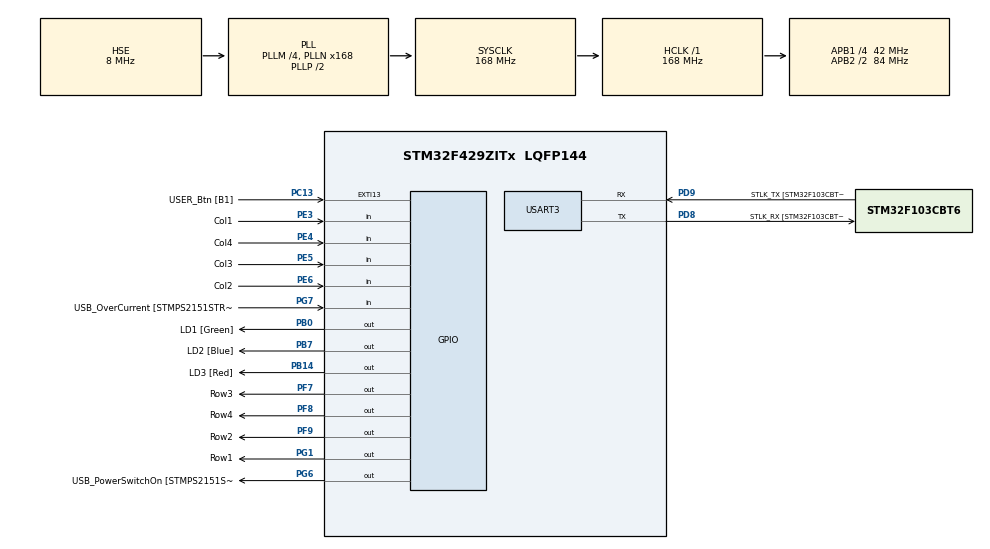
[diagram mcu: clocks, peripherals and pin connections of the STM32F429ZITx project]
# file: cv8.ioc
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Mcu.Family=STM32F4
Mcu.Name=STM32F429ZITx
Mcu.Package=LQFP144
NVIC.PriorityGroup=NVIC_PRIORITYGROUP_4
NVIC.TIM3_IRQn=true\:0\:0\:false\:false\:true\:true\:true\:true
PA1.GPIO_Label=RMII_REF_CLK [LAN8742A-CZ-TR_REFCLK0]
PA1.Signal=ETH_REF_CLK
PA10.GPIO_Label=USB_ID
PA10.Signal=USB_OTG_FS_ID
PA11.GPIO_Label=USB_DM
PA11.Signal=USB_OTG_FS_DM
PA12.GPIO_Label=USB_DP
PA12.Signal=USB_OTG_FS_DP
PA13.GPIO_Label=TMS
PA13.Mode=Serial_Wire
PA13.Signal=SYS_JTMS-SWDIO
PA14.GPIO_Label=TCK
PA14.Mode=Serial_Wire
PA14.Signal=SYS_JTCK-SWCLK
PA2.GPIO_Label=RMII_MDIO [LAN8742A-CZ-TR_MDIO]
PA2.Signal=ETH_MDIO
PA7.GPIO_Label=RMII_CRS_DV [LAN8742A-CZ-TR_CRS_DV]
PA7.Signal=ETH_CRS_DV
PA8.GPIO_Label=USB_SOF [TP1]
PA8.Signal=USB_OTG_FS_SOF
PA9.GPIO_Label=USB_VBUS
PA9.Signal=USB_OTG_FS_VBUS
PB0.GPIO_Label=LD1 [Green]
PB0.Signal=GPIO_Output
PB13.GPIO_Label=RMII_TXD1 [LAN8742A-CZ-TR_TXD1]
PB13.Signal=ETH_TXD1
PB14.GPIO_Label=LD3 [Red]
PB14.Signal=GPIO_Output
PB7.GPIO_Label=LD2 [Blue]
PB7.Signal=GPIO_Output
PC1.GPIO_Label=RMII_MDC [LAN8742A-CZ-TR_MDC]
PC1.Signal=ETH_MDC
PC13.GPIO_Label=USER_Btn [B1]
PC13.Signal=GPXTI13
PC14/OSC32_IN.Mode=LSE-External-Oscillator
PC14/OSC32_IN.Signal=RCC_OSC32_IN
PC15/OSC32_OUT.Mode=LSE-External-Oscillator
PC15/OSC32_OUT.Signal=RCC_OSC32_OUT
PC4.GPIO_Label=RMII_RXD0 [LAN8742A-CZ-TR_RXD0]
PC4.Signal=ETH_RXD0
PC5.GPIO_Label=RMII_RXD1 [LAN8742A-CZ-TR_RXD1]
PC5.Signal=ETH_RXD1
PD8.GPIO_Label=STLK_RX [STM32F103CBT6_PA3]
PD8.Mode=Asynchronous
PD8.Signal=USART3_TX
PD9.GPIO_Label=STLK_TX [STM32F103CBT6_PA2]
PD9.Mode=Asynchronous
PD9.Signal=USART3_RX
PE3.GPIO_Label=Col1
PE3.GPIO_PuPd=GPIO_PULLUP
PE3.Signal=GPIO_Input
PE4.GPIO_Label=Col4
PE4.GPIO_PuPd=GPIO_PULLUP
PE4.Signal=GPIO_Input
PE5.GPIO_Label=Col3
PE5.GPIO_PuPd=GPIO_PULLUP
PE5.Signal=GPIO_Input
PE6.GPIO_Label=Col2
PE6.GPIO_PuPd=GPIO_PULLUP
PE6.Signal=GPIO_Input
PF7.GPIO_Label=Row3
PF7.GPIO_ModeDefaultOutputPP=GPIO_MODE_OUTPUT_OD
PF7.GPIO_PuPd=GPIO_NOPULL
PF7.Signal=GPIO_Output
PF8.GPIO_Label=Row4
PF8.GPIO_ModeDefaultOutputPP=GPIO_MODE_OUTPUT_OD
PF8.GPIO_PuPd=GPIO_NOPULL
PF8.Signal=GPIO_Output
PF9.GPIO_Label=Row2
PF9.GPIO_ModeDefaultOutputPP=GPIO_MODE_OUTPUT_OD
PF9.GPIO_PuPd=GPIO_NOPULL
PF9.Signal=GPIO_Output
PG1.GPIO_Label=Row1
PG1.GPIO_ModeDefaultOutputPP=GPIO_MODE_OUTPUT_OD
PG1.GPIO_PuPd=GPIO_NOPULL
PG1.Signal=GPIO_Output
PG11.GPIO_Label=RMII_TX_EN [LAN8742A-CZ-TR_TXEN]
PG11.Signal=ETH_TX_EN
PG13.GPIO_Label=RMII_TXD0 [LAN8742A-CZ-TR_TXD0]
PG13.Signal=ETH_TXD0
PG6.GPIO_Label=USB_PowerSwitchOn [STMPS2151STR_EN]
PG6.Signal=GPIO_Output
PG7.GPIO_Label=USB_OverCurrent [STMPS2151STR_FAULT]
PG7.Signal=GPIO_Input
PH0/OSC_IN.GPIO_Label=MCO [STM32F103CBT6_PA8]
PH0/OSC_IN.Mode=HSE-External-Clock-Source
PH0/OSC_IN.Signal=RCC_OSC_IN
PH1/OSC_OUT.Mode=HSE-External-Clock-Source
PH1/OSC_OUT.Signal=RCC_OSC_OUT
ProjectManager.HeapSize=0x200
ProjectManager.StackSize=0x400
ProjectManager.TargetToolchain=STM32CubeIDE
RCC.48MHZClocksFreq_Value=48000000
RCC.AHBFreq_Value=168000000
RCC.APB1CLKDivider=RCC_HCLK_DIV4
RCC.APB1Freq_Value=42000000
RCC.APB1TimFreq_Value=84000000
RCC.APB2CLKDivider=RCC_HCLK_DIV2
RCC.APB2Freq_Value=84000000
RCC.APB2TimCLKDivider=2
RCC.APB2TimFreq_Value=168000000
RCC.CortexFreq_Value=168000000
RCC.HCLKFreq_Value=168000000
RCC.HSE_VALUE=8000000
RCC.HSI_VALUE=16000000
RCC.PLLM=4
RCC.PLLMUL=RCC_PLL_MUL9
RCC.PLLN=168
RCC.PLLQ=7
RCC.PLLSourceVirtual=RCC_PLLSOURCE_HSE
RCC.PRESCALERUSB=RCC_USBCLKSOURCE_PLL_DIV1_5
RCC.SYSCLKFreq_VALUE=168000000
RCC.SYSCLKSource=RCC_SYSCLKSOURCE_PLLCLK
RCC.SYSCLKSourceVirtual=RCC_SYSCLKSOURCE_PLLCLK
RCC.USBFreq_Value=48000000
RCC.VCOOutputFreq_Value=336000000
TIM3.AutoReloadPreload=TIM_AUTORELOAD_PRELOAD_ENABLE
TIM3.Period=99
TIM3.Prescaler=8399
USART3.VirtualMode=VM_ASYNC
VP_TIM3_VS_ClockSourceINT.Mode=Internal
board=NUCLEO-F429ZI

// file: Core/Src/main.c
/* USER CODE BEGIN Header */
/**
  ******************************************************************************
  * @file           : main.c
  * @brief          : Main program body
  ******************************************************************************
  * @attention
  *
  * Copyright (c) 2025 STMicroelectronics.
  * All rights reserved.
  *
  * This software is licensed under terms that can be found in the LICENSE file
  * in the root directory of this software component.
  * If no LICENSE file comes with this software, it is provided AS-IS.
  *
  ******************************************************************************
  */
/* USER CODE END Header */
#include "main.h"

/* USER CODE BEGIN Includes */
#include <stdio.h>
/* USER CODE END Includes */

TIM_HandleTypeDef htim3;

UART_HandleTypeDef huart3;

/* USER CODE BEGIN PV */
static char password[] = {'7', '9', '3', '2', '#' };
static volatile int position = 0;
static volatile char key;
/* USER CODE END PV */

void SystemClock_Config(void);
static void MX_GPIO_Init(void);
static void MX_USART3_UART_Init(void);
static void MX_TIM3_Init(void);

/* USER CODE BEGIN 0 */
int __io_putchar(int ch)
{
	ITM_SendChar(ch);
	return 0;
}
/* USER CODE END 0 */

int main(void)
{

  /* USER CODE BEGIN 1 */
  static int time = 0;
  /* USER CODE END 1 */

  /* MCU Configuration--------------------------------------------------------*/

  /* Reset of all peripherals, Initializes the Flash interface and the Systick. */
  HAL_Init();

  /* Configure the system clock */
  SystemClock_Config();

  /* Initialize all configured peripherals */
  MX_GPIO_Init();
  MX_USART3_UART_Init();
  MX_TIM3_Init();
  /* USER CODE BEGIN 2 */
  HAL_TIM_Base_Start_IT(&htim3);
  /* USER CODE END 2 */

  /* Infinite loop */
  /* USER CODE BEGIN WHILE */
  while (1)
  {
	  if (key != 0) {
		  printf("pressed '%c'\n", key);

		  if (password[position] == key)
		  {
			  if (position == 4)
			  {
				  time = HAL_GetTick();
				  position = 0;
				  HAL_GPIO_WritePin(LD1_GPIO_Port, LD1_Pin, GPIO_PIN_SET);
				  printf("CORRECT! \n");
			  }
			  else
			  {
				  position++;
			  }
		  }
		  else
		  {
			  position = 0;
			  printf("WRONG \n");
		  }
		  HAL_Delay(500);
		  key = 0;
	  }

	  if (HAL_GetTick() - time >= 3000 )
	  {
		  HAL_GPIO_WritePin(LD1_GPIO_Port, LD1_Pin, GPIO_PIN_RESET);
	  }

//	  if (HAL_GetTick() - time < 3000 )
//	  {
//		  HAL_GPIO_WritePin(LD1_GPIO_Port, LD1_Pin, GPIO_PIN_RESET);
//	  }
    /* USER CODE END WHILE */

  }
}

void SystemClock_Config(void)
{
  RCC_OscInitTypeDef RCC_OscInitStruct = {0};
  RCC_ClkInitTypeDef RCC_ClkInitStruct = {0};

  /** Configure the main internal regulator output voltage
  */
  __HAL_RCC_PWR_CLK_ENABLE();
  __HAL_PWR_VOLTAGESCALING_CONFIG(PWR_REGULATOR_VOLTAGE_SCALE1);

  /** Initializes the RCC Oscillators according to the specified parameters
  * in the RCC_OscInitTypeDef structure.
  */
  RCC_OscInitStruct.OscillatorType = RCC_OSCILLATORTYPE_HSE;
  RCC_OscInitStruct.HSEState = RCC_HSE_BYPASS;
  RCC_OscInitStruct.PLL.PLLState = RCC_PLL_ON;
  RCC_OscInitStruct.PLL.PLLSource = RCC_PLLSOURCE_HSE;
  RCC_OscInitStruct.PLL.PLLM = 4;
  RCC_OscInitStruct.PLL.PLLN = 168;
  RCC_OscInitStruct.PLL.PLLP = RCC_PLLP_DIV2;
  RCC_OscInitStruct.PLL.PLLQ = 7;
  if (HAL_RCC_OscConfig(&RCC_OscInitStruct) != HAL_OK)
  {
    Error_Handler();
  }

  /** Initializes the CPU, AHB and APB buses clocks
  */
  RCC_ClkInitStruct.ClockType = RCC_CLOCKTYPE_HCLK|RCC_CLOCKTYPE_SYSCLK
                              |RCC_CLOCKTYPE_PCLK1|RCC_CLOCKTYPE_PCLK2;
  RCC_ClkInitStruct.SYSCLKSource = RCC_SYSCLKSOURCE_PLLCLK;
  RCC_ClkInitStruct.AHBCLKDivider = RCC_SYSCLK_DIV1;
  RCC_ClkInitStruct.APB1CLKDivider = RCC_HCLK_DIV4;
  RCC_ClkInitStruct.APB2CLKDivider = RCC_HCLK_DIV2;

  if (HAL_RCC_ClockConfig(&RCC_ClkInitStruct, FLASH_LATENCY_5) != HAL_OK)
  {
    Error_Handler();
  }
}

static void MX_TIM3_Init(void)
{

  TIM_ClockConfigTypeDef sClockSourceConfig = {0};
  TIM_MasterConfigTypeDef sMasterConfig = {0};

  htim3.Instance = TIM3;
  htim3.Init.Prescaler = 8399;
  htim3.Init.CounterMode = TIM_COUNTERMODE_UP;
  htim3.Init.Period = 99;
  htim3.Init.ClockDivision = TIM_CLOCKDIVISION_DIV1;
  htim3.Init.AutoReloadPreload = TIM_AUTORELOAD_PRELOAD_ENABLE;
  if (HAL_TIM_Base_Init(&htim3) != HAL_OK)
  {
    Error_Handler();
  }
  sClockSourceConfig.ClockSource = TIM_CLOCKSOURCE_INTERNAL;
  if (HAL_TIM_ConfigClockSource(&htim3, &sClockSourceConfig) != HAL_OK)
  {
    Error_Handler();
  }
  sMasterConfig.MasterOutputTrigger = TIM_TRGO_RESET;
  sMasterConfig.MasterSlaveMode = TIM_MASTERSLAVEMODE_DISABLE;
  if (HAL_TIMEx_MasterConfigSynchronization(&htim3, &sMasterConfig) != HAL_OK)
  {
    Error_Handler();
  }

}

static void MX_USART3_UART_Init(void)
{

  huart3.Instance = USART3;
  huart3.Init.BaudRate = 115200;
  huart3.Init.WordLength = UART_WORDLENGTH_8B;
  huart3.Init.StopBits = UART_STOPBITS_1;
  huart3.Init.Parity = UART_PARITY_NONE;
  huart3.Init.Mode = UART_MODE_TX_RX;
  huart3.Init.HwFlowCtl = UART_HWCONTROL_NONE;
  huart3.Init.OverSampling = UART_OVERSAMPLING_16;
  if (HAL_UART_Init(&huart3) != HAL_OK)
  {
    Error_Handler();
  }

}

static void MX_GPIO_Init(void)
{
  GPIO_InitTypeDef GPIO_InitStruct = {0};

  /* GPIO Ports Clock Enable */
  __HAL_RCC_GPIOE_CLK_ENABLE();
  __HAL_RCC_GPIOC_CLK_ENABLE();
  __HAL_RCC_GPIOF_CLK_ENABLE();
  __HAL_RCC_GPIOH_CLK_ENABLE();
  __HAL_RCC_GPIOA_CLK_ENABLE();
  __HAL_RCC_GPIOB_CLK_ENABLE();
  __HAL_RCC_GPIOG_CLK_ENABLE();
  __HAL_RCC_GPIOD_CLK_ENABLE();

  /*Configure GPIO pin Output Level */
  HAL_GPIO_WritePin(GPIOF, Row3_Pin|Row4_Pin|Row2_Pin, GPIO_PIN_RESET);

  /*Configure GPIO pin Output Level */
  HAL_GPIO_WritePin(GPIOB, LD1_Pin|LD3_Pin|LD2_Pin, GPIO_PIN_RESET);

  /*Configure GPIO pin Output Level */
  HAL_GPIO_WritePin(GPIOG, Row1_Pin|USB_PowerSwitchOn_Pin, GPIO_PIN_RESET);

  /*Configure GPIO pins : Col1_Pin Col4_Pin Col3_Pin Col2_Pin */
  GPIO_InitStruct.Pin = Col1_Pin|Col4_Pin|Col3_Pin|Col2_Pin;
  GPIO_InitStruct.Mode = GPIO_MODE_INPUT;
  GPIO_InitStruct.Pull = GPIO_PULLUP;
  HAL_GPIO_Init(GPIOE, &GPIO_InitStruct);

  /*Configure GPIO pin : USER_Btn_Pin */
  GPIO_InitStruct.Pin = USER_Btn_Pin;
  GPIO_InitStruct.Mode = GPIO_MODE_IT_RISING;
  GPIO_InitStruct.Pull = GPIO_NOPULL;
  HAL_GPIO_Init(USER_Btn_GPIO_Port, &GPIO_InitStruct);

  /*Configure GPIO pins : Row3_Pin Row4_Pin Row2_Pin */
  GPIO_InitStruct.Pin = Row3_Pin|Row4_Pin|Row2_Pin;
  GPIO_InitStruct.Mode = GPIO_MODE_OUTPUT_OD;
  GPIO_InitStruct.Pull = GPIO_NOPULL;
  GPIO_InitStruct.Speed = GPIO_SPEED_FREQ_LOW;
  HAL_GPIO_Init(GPIOF, &GPIO_InitStruct);

  /*Configure GPIO pins : RMII_MDC_Pin RMII_RXD0_Pin RMII_RXD1_Pin */
  GPIO_InitStruct.Pin = RMII_MDC_Pin|RMII_RXD0_Pin|RMII_RXD1_Pin;
  GPIO_InitStruct.Mode = GPIO_MODE_AF_PP;
  GPIO_InitStruct.Pull = GPIO_NOPULL;
  GPIO_InitStruct.Speed = GPIO_SPEED_FREQ_VERY_HIGH;
  GPIO_InitStruct.Alternate = GPIO_AF11_ETH;
  HAL_GPIO_Init(GPIOC, &GPIO_InitStruct);

  /*Configure GPIO pins : RMII_REF_CLK_Pin RMII_MDIO_Pin RMII_CRS_DV_Pin */
  GPIO_InitStruct.Pin = RMII_REF_CLK_Pin|RMII_MDIO_Pin|RMII_CRS_DV_Pin;
  GPIO_InitStruct.Mode = GPIO_MODE_AF_PP;
  GPIO_InitStruct.Pull = GPIO_NOPULL;
  GPIO_InitStruct.Speed = GPIO_SPEED_FREQ_VERY_HIGH;
  GPIO_InitStruct.Alternate = GPIO_AF11_ETH;
  HAL_GPIO_Init(GPIOA, &GPIO_InitStruct);

  /*Configure GPIO pins : LD1_Pin LD3_Pin LD2_Pin */
  GPIO_InitStruct.Pin = LD1_Pin|LD3_Pin|LD2_Pin;
  GPIO_InitStruct.Mode = GPIO_MODE_OUTPUT_PP;
  GPIO_InitStruct.Pull = GPIO_NOPULL;
  GPIO_InitStruct.Speed = GPIO_SPEED_FREQ_LOW;
  HAL_GPIO_Init(GPIOB, &GPIO_InitStruct);

  /*Configure GPIO pin : Row1_Pin */
  GPIO_InitStruct.Pin = Row1_Pin;
  GPIO_InitStruct.Mode = GPIO_MODE_OUTPUT_OD;
  GPIO_InitStruct.Pull = GPIO_NOPULL;
  GPIO_InitStruct.Speed = GPIO_SPEED_FREQ_LOW;
  HAL_GPIO_Init(Row1_GPIO_Port, &GPIO_InitStruct);

  /*Configure GPIO pin : RMII_TXD1_Pin */
  GPIO_InitStruct.Pin = RMII_TXD1_Pin;
  GPIO_InitStruct.Mode = GPIO_MODE_AF_PP;
  GPIO_InitStruct.Pull = GPIO_NOPULL;
  GPIO_InitStruct.Speed = GPIO_SPEED_FREQ_VERY_HIGH;
  GPIO_InitStruct.Alternate = GPIO_AF11_ETH;
  HAL_GPIO_Init(RMII_TXD1_GPIO_Port, &GPIO_InitStruct);

  /*Configure GPIO pin : USB_PowerSwitchOn_Pin */
  GPIO_InitStruct.Pin = USB_PowerSwitchOn_Pin;
  GPIO_InitStruct.Mode = GPIO_MODE_OUTPUT_PP;
  GPIO_InitStruct.Pull = GPIO_NOPULL;
  GPIO_InitStruct.Speed = GPIO_SPEED_FREQ_LOW;
  HAL_GPIO_Init(USB_PowerSwitchOn_GPIO_Port, &GPIO_InitStruct);

  /*Configure GPIO pin : USB_OverCurrent_Pin */
  GPIO_InitStruct.Pin = USB_OverCurrent_Pin;
  GPIO_InitStruct.Mode = GPIO_MODE_INPUT;
  GPIO_InitStruct.Pull = GPIO_NOPULL;
  HAL_GPIO_Init(USB_OverCurrent_GPIO_Port, &GPIO_InitStruct);

  /*Configure GPIO pins : USB_SOF_Pin USB_ID_Pin USB_DM_Pin USB_DP_Pin */
  GPIO_InitStruct.Pin = USB_SOF_Pin|USB_ID_Pin|USB_DM_Pin|USB_DP_Pin;
  GPIO_InitStruct.Mode = GPIO_MODE_AF_PP;
  GPIO_InitStruct.Pull = GPIO_NOPULL;
  GPIO_InitStruct.Speed = GPIO_SPEED_FREQ_VERY_HIGH;
  GPIO_InitStruct.Alternate = GPIO_AF10_OTG_FS;
  HAL_GPIO_Init(GPIOA, &GPIO_InitStruct);

  /*Configure GPIO pin : USB_VBUS_Pin */
  GPIO_InitStruct.Pin = USB_VBUS_Pin;
  GPIO_InitStruct.Mode = GPIO_MODE_INPUT;
  GPIO_InitStruct.Pull = GPIO_NOPULL;
  HAL_GPIO_Init(USB_VBUS_GPIO_Port, &GPIO_InitStruct);

  /*Configure GPIO pins : RMII_TX_EN_Pin RMII_TXD0_Pin */
  GPIO_InitStruct.Pin = RMII_TX_EN_Pin|RMII_TXD0_Pin;
  GPIO_InitStruct.Mode = GPIO_MODE_AF_PP;
  GPIO_InitStruct.Pull = GPIO_NOPULL;
  GPIO_InitStruct.Speed = GPIO_SPEED_FREQ_VERY_HIGH;
  GPIO_InitStruct.Alternate = GPIO_AF11_ETH;
  HAL_GPIO_Init(GPIOG, &GPIO_InitStruct);

}

/* USER CODE BEGIN 4 */
void HAL_TIM_PeriodElapsedCallback(TIM_HandleTypeDef *htim)
{
	static uint8_t row = 0;
	static const char keyboard[4][4] = {
		{ '1', '2', '3', 'A' },
		{ '4', '5', '6', 'B' },
		{ '7', '8', '9', 'C' },
		{ '*', '0', '#', 'D' },
	};
	if (key == 0) {
		if (HAL_GPIO_ReadPin(Col1_GPIO_Port, Col1_Pin) == GPIO_PIN_RESET) {
			key = keyboard[row][0];
		}
		if (HAL_GPIO_ReadPin(Col2_GPIO_Port, Col2_Pin) == GPIO_PIN_RESET) {
			key = keyboard[row][1];
		}
		if (HAL_GPIO_ReadPin(Col3_GPIO_Port, Col3_Pin) == GPIO_PIN_RESET) {
			key = keyboard[row][2];
		}
		if (HAL_GPIO_ReadPin(Col4_GPIO_Port, Col4_Pin) == GPIO_PIN_RESET) {
			key = keyboard[row][3];
		}
	}
	HAL_GPIO_WritePin(Row1_GPIO_Port, Row1_Pin, GPIO_PIN_SET);
	HAL_GPIO_WritePin(Row2_GPIO_Port, Row2_Pin, GPIO_PIN_SET);
	HAL_GPIO_WritePin(Row3_GPIO_Port, Row3_Pin, GPIO_PIN_SET);
	HAL_GPIO_WritePin(Row4_GPIO_Port, Row4_Pin, GPIO_PIN_SET);

	switch (row) {
		case 0:
			row = 1;
			HAL_GPIO_WritePin(Row2_GPIO_Port, Row2_Pin, GPIO_PIN_RESET);
			break;
		case 1:
			row = 2;
			HAL_GPIO_WritePin(Row3_GPIO_Port, Row3_Pin, GPIO_PIN_RESET);
			break;
		case 2:
			row = 3;
			HAL_GPIO_WritePin(Row4_GPIO_Port, Row4_Pin, GPIO_PIN_RESET);
			break;
		case 3:
			row = 0;
			HAL_GPIO_WritePin(Row1_GPIO_Port, Row1_Pin, GPIO_PIN_RESET);
			break;
	}

//	if (password[position] == key)
//	{
//		printf("UNCLOCK \n");
//		HAL_GPIO_WritePin(LD1_GPIO_Port, LD1_Pin, GPIO_PIN_SET);
//	}
//	else if (position == 3)
//	{
//		position = 0;
//	}

};
/* USER CODE END 4 */

void Error_Handler(void)
{
  __disable_irq();
  while (1)
  {
  }
}
